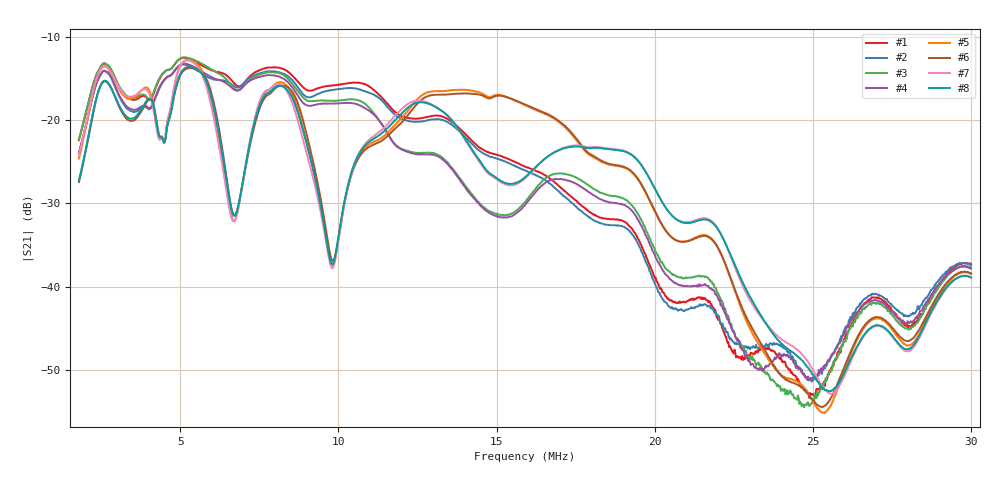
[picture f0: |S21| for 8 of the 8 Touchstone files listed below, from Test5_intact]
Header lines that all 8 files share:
!Agilent Technologies,E5061B,MY49101568,A.02.00
!Data & Calibration Information:
!Freq	S11:SOLT2(OFF)	S21:SOLT2(OFF)	S12:SOLT2(OFF)	S22:SOLT2(OFF)
# Hz S dB R 50
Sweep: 1.8 MHz to 30 MHz
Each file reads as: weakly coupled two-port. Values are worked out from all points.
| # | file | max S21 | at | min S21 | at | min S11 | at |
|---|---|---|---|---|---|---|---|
| 1 | CASE6.S2P | -12.54 dB | 5.099 MHz | -53.4 dB | 24.89 MHz | -37.4 dB | 16.73 MHz |
| 2 | CASE7.S2P | -13.36 dB | 5.099 MHz | -51.4 dB | 24.97 MHz | -36.2 dB | 16.73 MHz |
| 3 | CASE8.S2P | -12.48 dB | 5.099 MHz | -54.5 dB | 24.72 MHz | -40.0 dB | 12.92 MHz |
| 4 | CASE9.S2P | -13.24 dB | 5.148 MHz | -51.3 dB | 24.89 MHz | -37.3 dB | 12.92 MHz |
| 5 | CASE16.S2P | -12.79 dB | 5.246 MHz | -55.2 dB | 25.38 MHz | -45.4 dB | 15.02 MHz |
| 6 | CASE17.S2P | -13.78 dB | 5.294 MHz | -54.5 dB | 25.28 MHz | -42.8 dB | 14.85 MHz |
| 7 | CASE18.S2P | -12.86 dB | 5.221 MHz | -52.9 dB | 25.6 MHz | -27.8 dB | 28.41 MHz |
| 8 | CASE19.S2P | -13.64 dB | 5.27 MHz | -52.6 dB | 25.53 MHz | -28.7 dB | 5.221 MHz |
